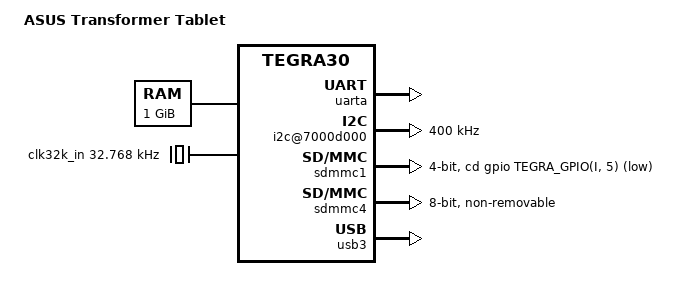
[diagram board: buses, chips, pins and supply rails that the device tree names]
/dts-v1/;

#include "tegra30.dtsi"

/ {
	model = "ASUS Transformer Tablet";
	compatible = "asus,transformer", "nvidia,tegra30";

	chosen {
		stdout-path = &uarta;
	};

	aliases {
		mmc0 = &sdmmc4;	/* eMMC */
		mmc1 = &sdmmc1; /* uSD slot */

		usb0 = &usb3; /* Dock USB */
	};

	memory {
		device_type = "memory";
		reg = <0x80000000 0x40000000>;
	};

	uarta: serial@70006000 {
		status = "okay";
	};

	i2c@7000d000 {
		status = "okay";
		clock-frequency = <400000>;
	};

	sdmmc1: mmc@78000000 {
		status = "okay";
		bus-width = <4>;

		cd-gpios = <&gpio TEGRA_GPIO(I, 5) GPIO_ACTIVE_LOW>;
		power-gpios = <&gpio TEGRA_GPIO(D, 7) GPIO_ACTIVE_HIGH>;
	};

	sdmmc4: sdhci@78000600 {
		status = "okay";
		bus-width = <8>;
		non-removable;
	};

	/* Dock's USB port */
	usb3: usb@7d008000 {
		status = "okay";
	};

	usb-phy@7d008000 {
		status = "okay";
	};

	clocks {
		compatible = "simple-bus";
		#address-cells = <1>;
		#size-cells = <0>;

		clk32k_in: clock@0 {
			compatible = "fixed-clock";
			reg=<0>;
			#clock-cells = <0>;
			clock-frequency = <32768>;
		};
	};
};
